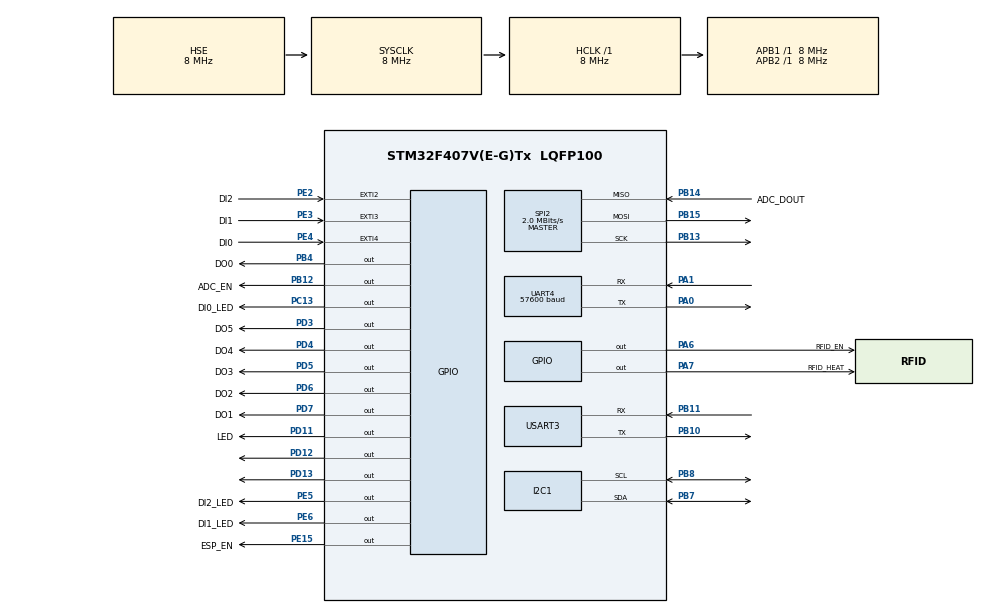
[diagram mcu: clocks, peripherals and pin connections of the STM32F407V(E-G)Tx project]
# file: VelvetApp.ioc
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Dma.Request0=UART4_RX
Dma.Request1=USART3_RX
Dma.Request2=SPI2_RX
Dma.Request3=SPI2_TX
Dma.SPI2_RX.2.Direction=DMA_PERIPH_TO_MEMORY
Dma.SPI2_RX.2.FIFOMode=DMA_FIFOMODE_DISABLE
Dma.SPI2_RX.2.Instance=DMA1_Stream3
Dma.SPI2_RX.2.MemDataAlignment=DMA_MDATAALIGN_BYTE
Dma.SPI2_RX.2.MemInc=DMA_MINC_ENABLE
Dma.SPI2_RX.2.Mode=DMA_NORMAL
Dma.SPI2_RX.2.PeriphDataAlignment=DMA_PDATAALIGN_BYTE
Dma.SPI2_RX.2.PeriphInc=DMA_PINC_DISABLE
Dma.SPI2_RX.2.Priority=DMA_PRIORITY_LOW
Dma.SPI2_TX.3.Direction=DMA_MEMORY_TO_PERIPH
Dma.SPI2_TX.3.FIFOMode=DMA_FIFOMODE_DISABLE
Dma.SPI2_TX.3.Instance=DMA1_Stream4
Dma.SPI2_TX.3.MemDataAlignment=DMA_MDATAALIGN_BYTE
Dma.SPI2_TX.3.MemInc=DMA_MINC_ENABLE
Dma.SPI2_TX.3.Mode=DMA_NORMAL
Dma.SPI2_TX.3.PeriphDataAlignment=DMA_PDATAALIGN_BYTE
Dma.SPI2_TX.3.PeriphInc=DMA_PINC_DISABLE
Dma.SPI2_TX.3.Priority=DMA_PRIORITY_LOW
Dma.UART4_RX.0.Direction=DMA_PERIPH_TO_MEMORY
Dma.UART4_RX.0.FIFOMode=DMA_FIFOMODE_DISABLE
Dma.UART4_RX.0.Instance=DMA1_Stream2
Dma.UART4_RX.0.MemDataAlignment=DMA_MDATAALIGN_BYTE
Dma.UART4_RX.0.MemInc=DMA_MINC_ENABLE
Dma.UART4_RX.0.Mode=DMA_NORMAL
Dma.UART4_RX.0.PeriphDataAlignment=DMA_PDATAALIGN_BYTE
Dma.UART4_RX.0.PeriphInc=DMA_PINC_DISABLE
Dma.UART4_RX.0.Priority=DMA_PRIORITY_MEDIUM
Dma.USART3_RX.1.Direction=DMA_PERIPH_TO_MEMORY
Dma.USART3_RX.1.FIFOMode=DMA_FIFOMODE_DISABLE
Dma.USART3_RX.1.Instance=DMA1_Stream1
Dma.USART3_RX.1.MemDataAlignment=DMA_MDATAALIGN_BYTE
Dma.USART3_RX.1.MemInc=DMA_MINC_ENABLE
Dma.USART3_RX.1.Mode=DMA_NORMAL
Dma.USART3_RX.1.PeriphDataAlignment=DMA_PDATAALIGN_BYTE
Dma.USART3_RX.1.PeriphInc=DMA_PINC_DISABLE
Dma.USART3_RX.1.Priority=DMA_PRIORITY_MEDIUM
FREERTOS.HEAP_NUMBER=4
FREERTOS.Tasks01=sendMsg,23,128,sendMsgToESPTask,As weak,&huart3,Dynamic,NULL,NULL;readWeight,24,128,readWeightTask,As external,&hspi2,Dynamic,NULL,NULL;readRfid,25,128,readRfidTask,As external,&huart4,Dynamic,NULL,NULL;testTask,22,128,testTaskRun,Default,NULL,Dynamic,NULL,NULL
FREERTOS.configMAX_TASK_NAME_LEN=16
IWDG.Prescaler=IWDG_PRESCALER_256
Mcu.Family=STM32F4
Mcu.Name=STM32F407V(E-G)Tx
Mcu.Package=LQFP100
NVIC.DMA1_Stream1_IRQn=true\:5\:0\:false\:false\:true\:true\:false\:true\:true
NVIC.DMA1_Stream2_IRQn=true\:5\:0\:false\:false\:true\:true\:false\:true\:true
NVIC.DMA1_Stream3_IRQn=true\:5\:0\:false\:false\:true\:true\:false\:true\:true
NVIC.DMA1_Stream4_IRQn=true\:5\:0\:false\:false\:true\:true\:false\:true\:true
NVIC.EXTI2_IRQn=true\:7\:0\:true\:false\:true\:true\:true\:true\:true
NVIC.EXTI3_IRQn=true\:7\:0\:true\:false\:true\:true\:true\:true\:true
NVIC.EXTI4_IRQn=true\:7\:0\:true\:false\:true\:true\:true\:true\:true
NVIC.I2C1_EV_IRQn=true\:5\:0\:false\:false\:true\:true\:true\:true\:true
NVIC.PriorityGroup=NVIC_PRIORITYGROUP_4
NVIC.TIM1_UP_TIM10_IRQn=true\:15\:0\:false\:false\:true\:false\:false\:true\:true
NVIC.TIM6_DAC_IRQn=true\:6\:0\:true\:false\:true\:true\:true\:true\:true
NVIC.TimeBase=TIM1_UP_TIM10_IRQn
NVIC.TimeBaseIP=TIM1
PA0-WKUP.GPIO_PuPd=GPIO_NOPULL
PA0-WKUP.Mode=Asynchronous
PA0-WKUP.Signal=UART4_TX
PA1.GPIO_PuPd=GPIO_NOPULL
PA1.Mode=Asynchronous
PA1.Signal=UART4_RX
PA13.Mode=Serial_Wire
PA13.Signal=SYS_JTMS-SWDIO
PA14.Mode=Serial_Wire
PA14.Signal=SYS_JTCK-SWCLK
PA6.GPIO_Label=RFID_EN
PA6.GPIO_PuPd=GPIO_PULLDOWN
PA6.Signal=GPIO_Output
PA7.GPIO_Label=RFID_HEAT
PA7.GPIO_PuPd=GPIO_PULLDOWN
PA7.Signal=GPIO_Output
PB10.Mode=Asynchronous
PB10.Signal=USART3_TX
PB11.Mode=Asynchronous
PB11.Signal=USART3_RX
PB12.GPIO_Label=ADC_EN
PB12.GPIO_PuPd=GPIO_PULLUP
PB12.PinState=GPIO_PIN_SET
PB12.Signal=GPIO_Output
PB13.GPIO_PuPd=GPIO_PULLUP
PB13.GPIO_Speed=GPIO_SPEED_FREQ_HIGH
PB13.Mode=Full_Duplex_Master
PB13.Signal=SPI2_SCK
PB14.GPIO_Label=ADC_DOUT
PB14.GPIO_PuPd=GPIO_PULLUP
PB14.GPIO_Speed=GPIO_SPEED_FREQ_HIGH
PB14.Mode=Full_Duplex_Master
PB14.Signal=SPI2_MISO
PB15.GPIO_PuPd=GPIO_PULLUP
PB15.GPIO_Speed=GPIO_SPEED_FREQ_HIGH
PB15.Mode=Full_Duplex_Master
PB15.Signal=SPI2_MOSI
PB4.GPIO_Label=DO0
PB4.GPIO_PuPd=GPIO_PULLDOWN
PB4.Signal=GPIO_Output
PB7.Mode=I2C
PB7.Signal=I2C1_SDA
PB8.Mode=I2C
PB8.Signal=I2C1_SCL
PC13-ANTI_TAMP.GPIO_Label=DI0_LED
PC13-ANTI_TAMP.GPIO_PuPd=GPIO_PULLDOWN
PC13-ANTI_TAMP.Signal=GPIO_Output
PD11.GPIO_Label=LED
PD11.Signal=GPIO_Output
PD12.Signal=GPIO_Output
PD13.Signal=GPIO_Output
PD3.GPIO_Label=DO5
PD3.GPIO_PuPd=GPIO_PULLDOWN
PD3.Signal=GPIO_Output
PD4.GPIO_Label=DO4
PD4.GPIO_PuPd=GPIO_PULLDOWN
PD4.PinState=GPIO_PIN_RESET
PD4.Signal=GPIO_Output
PD5.GPIO_Label=DO3
PD5.GPIO_PuPd=GPIO_PULLDOWN
PD5.Signal=GPIO_Output
PD6.GPIO_Label=DO2
PD6.GPIO_PuPd=GPIO_PULLDOWN
PD6.PinState=GPIO_PIN_RESET
PD6.Signal=GPIO_Output
PD7.GPIO_Label=DO1
PD7.GPIO_PuPd=GPIO_PULLDOWN
PD7.Signal=GPIO_Output
PE15.GPIO_Label=ESP_EN
PE15.Signal=GPIO_Output
PE2.GPIO_Label=DI2
PE2.GPIO_ModeDefaultEXTI=GPIO_MODE_IT_RISING_FALLING
PE2.Signal=GPXTI2
PE3.GPIO_Label=DI1
PE3.GPIO_ModeDefaultEXTI=GPIO_MODE_IT_RISING_FALLING
PE3.Signal=GPXTI3
PE4.GPIO_Label=DI0
PE4.GPIO_ModeDefaultEXTI=GPIO_MODE_IT_RISING_FALLING
PE4.Signal=GPXTI4
PE5.GPIO_Label=DI2_LED
PE5.GPIO_PuPd=GPIO_PULLDOWN
PE5.Signal=GPIO_Output
PE6.GPIO_Label=DI1_LED
PE6.GPIO_PuPd=GPIO_PULLDOWN
PE6.Signal=GPIO_Output
PH0-OSC_IN.Mode=HSE-External-Oscillator
PH0-OSC_IN.Signal=RCC_OSC_IN
PH1-OSC_OUT.Mode=HSE-External-Oscillator
PH1-OSC_OUT.Signal=RCC_OSC_OUT
ProjectManager.HeapSize=0x200
ProjectManager.StackSize=0x400
ProjectManager.TargetToolchain=MDK-ARM V5.32
RCC.48MHZClocksFreq_Value=24000000
RCC.AHBFreq_Value=8000000
RCC.APB1Freq_Value=8000000
RCC.APB1TimFreq_Value=8000000
RCC.APB2Freq_Value=8000000
RCC.APB2TimFreq_Value=8000000
RCC.CortexFreq_Value=8000000
RCC.HCLKFreq_Value=8000000
RCC.HSE_VALUE=8000000
RCC.HSI_VALUE=16000000
RCC.LSE_VALUE=32768
RCC.PLLSourceVirtual=RCC_PLLSOURCE_HSE
RCC.SYSCLKFreq_VALUE=8000000
RCC.SYSCLKSource=RCC_SYSCLKSOURCE_HSE
RCC.VCOOutputFreq_Value=96000000
SPI2.BaudRatePrescaler=SPI_BAUDRATEPRESCALER_4
SPI2.CLKPhase=SPI_PHASE_2EDGE
SPI2.CLKPolarity=SPI_POLARITY_HIGH
SPI2.CalculateBaudRate=2.0 MBits/s
SPI2.Direction=SPI_DIRECTION_2LINES
SPI2.Mode=SPI_MODE_MASTER
SPI2.VirtualType=VM_MASTER
TIM6.Period=999
TIM6.Prescaler=7999
TIM6.TIM_MasterOutputTrigger=TIM_TRGO_UPDATE
UART4.BaudRate=57600
UART4.VirtualMode=Asynchronous
USART3.VirtualMode=VM_ASYNC
VP_FREERTOS_VS_CMSIS_V2.Mode=CMSIS_V2
VP_IWDG_VS_IWDG.Mode=IWDG_Activate
VP_SYS_VS_tim1.Mode=TIM1
VP_TIM6_VS_ClockSourceINT.Mode=Enable_Timer
board=custom

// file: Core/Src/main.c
/* USER CODE BEGIN Header */
/**
  ******************************************************************************
  * @file           : main.c
  * @brief          : Main program body
  ******************************************************************************
  * @attention
  *
  * Copyright (c) 2023 STMicroelectronics.
  * All rights reserved.
  *
  * This software is licensed under terms that can be found in the LICENSE file
  * in the root directory of this software component.
  * If no LICENSE file comes with this software, it is provided AS-IS.
  *
  ******************************************************************************
  */
/* USER CODE END Header */
#include "main.h"
#include "cmsis_os.h"

/* USER CODE BEGIN Includes */
#include "appInit.h"
#include "app.h"
#include "esp.h"
#include "rfid.h"
#include "adc.h"
#include "temperatureSensor.h"
/* USER CODE END Includes */

I2C_HandleTypeDef hi2c1;

IWDG_HandleTypeDef hiwdg;

SPI_HandleTypeDef hspi2;
DMA_HandleTypeDef hdma_spi2_rx;
DMA_HandleTypeDef hdma_spi2_tx;

TIM_HandleTypeDef htim6;

UART_HandleTypeDef huart4;
UART_HandleTypeDef huart3;
DMA_HandleTypeDef hdma_uart4_rx;
DMA_HandleTypeDef hdma_usart3_rx;

/* Definitions for sendMsg */
osThreadId_t sendMsgHandle;
const osThreadAttr_t sendMsg_attributes = {
  .name = "sendMsg",
  .stack_size = 128 * 4,
  .priority = (osPriority_t) osPriorityBelowNormal7,
};
/* Definitions for readWeight */
osThreadId_t readWeightHandle;
const osThreadAttr_t readWeight_attributes = {
  .name = "readWeight",
  .stack_size = 128 * 4,
  .priority = (osPriority_t) osPriorityNormal,
};
/* Definitions for readRfid */
osThreadId_t readRfidHandle;
const osThreadAttr_t readRfid_attributes = {
  .name = "readRfid",
  .stack_size = 128 * 4,
  .priority = (osPriority_t) osPriorityNormal1,
};
/* Definitions for testTask */
osThreadId_t testTaskHandle;
const osThreadAttr_t testTask_attributes = {
  .name = "testTask",
  .stack_size = 128 * 4,
  .priority = (osPriority_t) osPriorityBelowNormal6,
};

void SystemClock_Config(void);
static void MX_GPIO_Init(void);
static void MX_DMA_Init(void);
static void MX_IWDG_Init(void);
static void MX_UART4_Init(void);
static void MX_TIM6_Init(void);
static void MX_USART3_UART_Init(void);
static void MX_I2C1_Init(void);
static void MX_SPI2_Init(void);
void sendMsgToESPTask(void *argument);
extern void readWeightTask(void *argument);
extern void readRfidTask(void *argument);
void testTaskRun(void *argument);

int main(void)
{
  /* USER CODE BEGIN 1 */
	//SCB->VTOR = 0x08020000;
  //SCB->VTOR = 0x0800E000;
//  __HAL_RCC_GPIOA_CLK_DISABLE();
//  __HAL_RCC_GPIOB_CLK_DISABLE();
//  __HAL_RCC_GPIOC_CLK_DISABLE();
//  __HAL_RCC_GPIOD_CLK_DISABLE();
//  HAL_RCC_DeInit();
//  HAL_DeInit();
//  __enable_irq();
  /* USER CODE END 1 */

  /* MCU Configuration--------------------------------------------------------*/

  /* Reset of all peripherals, Initializes the Flash interface and the Systick. */
  HAL_Init();

  /* Configure the system clock */
  SystemClock_Config();

  /* Initialize all configured peripherals */
  MX_GPIO_Init();
  MX_DMA_Init();
  MX_IWDG_Init();
  MX_UART4_Init();
  MX_TIM6_Init();
  MX_USART3_UART_Init();
  MX_I2C1_Init();
  MX_SPI2_Init();
  /* USER CODE BEGIN 2 */
	__HAL_DBGMCU_FREEZE_IWDG();
	initApp(&huart3,&huart4);
  /* USER CODE END 2 */

  /* Init scheduler */
  osKernelInitialize();

  /* USER CODE BEGIN RTOS_QUEUES */
  /* add queues, ... */
	const osMessageQueueAttr_t espSendQueue_attributes = {
  .name = "espSendQueue"
	};
	const osMessageQueueAttr_t espReceiveQueue_attributes = {
  .name = "espReceiveQueue"
	};
	const osMessageQueueAttr_t rfidReceiveQueue_attributes = {
  .name = "rfidReceiveQueue"
	};
	const osMessageQueueAttr_t adcQueue_attributes = {
  .name = "adcQueue"
	};
	const osMessageQueueAttr_t spiQueue_attributes = {
  .name = "spiQueue"
	};
	/* Create the queue(s) */
  /* creation of espSendQueue */
  espSendQueueHandle = osMessageQueueNew (5, sizeof(uint8_t), &espSendQueue_attributes);
  /* creation of espReceiveQueue */
  espReceiveQueueHandle = osMessageQueueNew (2, sizeof(uint8_t), &espReceiveQueue_attributes);
  /* creation of rfidReceiveQueue */
  rfidReceiveQueueHandle = osMessageQueueNew (2, sizeof(uint8_t), &rfidReceiveQueue_attributes);
  /* creation of adcQueue */
  adcQueueHandle = osMessageQueueNew (3, sizeof(uint8_t), &adcQueue_attributes);
	/* creation of spiQueue */
  spiQueueHandle = osMessageQueueNew (3, sizeof(uint8_t), &spiQueue_attributes);
  /* USER CODE END RTOS_QUEUES */

  /* Create the thread(s) */
  /* creation of sendMsg */
  sendMsgHandle = osThreadNew(sendMsgToESPTask, (void*) &huart3, &sendMsg_attributes);

  /* creation of readWeight */
  readWeightHandle = osThreadNew(readWeightTask, (void*) &hspi2, &readWeight_attributes);

  /* creation of readRfid */
  readRfidHandle = osThreadNew(readRfidTask, (void*) &huart4, &readRfid_attributes);

  /* creation of testTask */
  testTaskHandle = osThreadNew(testTaskRun, NULL, &testTask_attributes);

  /* Start scheduler */
  osKernelStart();
  /* We should never get here as control is now taken by the scheduler */
  /* Infinite loop */
  while (1)
  {

  }
}

void SystemClock_Config(void)
{
  RCC_OscInitTypeDef RCC_OscInitStruct = {0};
  RCC_ClkInitTypeDef RCC_ClkInitStruct = {0};

  /** Configure the main internal regulator output voltage
  */
  __HAL_RCC_PWR_CLK_ENABLE();
  __HAL_PWR_VOLTAGESCALING_CONFIG(PWR_REGULATOR_VOLTAGE_SCALE1);

  /** Initializes the RCC Oscillators according to the specified parameters
  * in the RCC_OscInitTypeDef structure.
  */
  RCC_OscInitStruct.OscillatorType = RCC_OSCILLATORTYPE_LSI|RCC_OSCILLATORTYPE_HSE;
  RCC_OscInitStruct.HSEState = RCC_HSE_ON;
  RCC_OscInitStruct.LSIState = RCC_LSI_ON;
  RCC_OscInitStruct.PLL.PLLState = RCC_PLL_NONE;
  if (HAL_RCC_OscConfig(&RCC_OscInitStruct) != HAL_OK)
  {
    Error_Handler();
  }

  /** Initializes the CPU, AHB and APB buses clocks
  */
  RCC_ClkInitStruct.ClockType = RCC_CLOCKTYPE_HCLK|RCC_CLOCKTYPE_SYSCLK
                              |RCC_CLOCKTYPE_PCLK1|RCC_CLOCKTYPE_PCLK2;
  RCC_ClkInitStruct.SYSCLKSource = RCC_SYSCLKSOURCE_HSE;
  RCC_ClkInitStruct.AHBCLKDivider = RCC_SYSCLK_DIV1;
  RCC_ClkInitStruct.APB1CLKDivider = RCC_HCLK_DIV1;
  RCC_ClkInitStruct.APB2CLKDivider = RCC_HCLK_DIV1;

  if (HAL_RCC_ClockConfig(&RCC_ClkInitStruct, FLASH_LATENCY_0) != HAL_OK)
  {
    Error_Handler();
  }
}

static void MX_I2C1_Init(void)
{

  hi2c1.Instance = I2C1;
  hi2c1.Init.ClockSpeed = 100000;
  hi2c1.Init.DutyCycle = I2C_DUTYCYCLE_2;
  hi2c1.Init.OwnAddress1 = 0;
  hi2c1.Init.AddressingMode = I2C_ADDRESSINGMODE_7BIT;
  hi2c1.Init.DualAddressMode = I2C_DUALADDRESS_DISABLE;
  hi2c1.Init.OwnAddress2 = 0;
  hi2c1.Init.GeneralCallMode = I2C_GENERALCALL_DISABLE;
  hi2c1.Init.NoStretchMode = I2C_NOSTRETCH_DISABLE;
  if (HAL_I2C_Init(&hi2c1) != HAL_OK)
  {
    Error_Handler();
  }

}

static void MX_IWDG_Init(void)
{

  hiwdg.Instance = IWDG;
  hiwdg.Init.Prescaler = IWDG_PRESCALER_256;
  hiwdg.Init.Reload = 4095;
  if (HAL_IWDG_Init(&hiwdg) != HAL_OK)
  {
    Error_Handler();
  }

}

static void MX_SPI2_Init(void)
{

  /* SPI2 parameter configuration*/
  hspi2.Instance = SPI2;
  hspi2.Init.Mode = SPI_MODE_MASTER;
  hspi2.Init.Direction = SPI_DIRECTION_2LINES;
  hspi2.Init.DataSize = SPI_DATASIZE_8BIT;
  hspi2.Init.CLKPolarity = SPI_POLARITY_HIGH;
  hspi2.Init.CLKPhase = SPI_PHASE_2EDGE;
  hspi2.Init.NSS = SPI_NSS_SOFT;
  hspi2.Init.BaudRatePrescaler = SPI_BAUDRATEPRESCALER_4;
  hspi2.Init.FirstBit = SPI_FIRSTBIT_MSB;
  hspi2.Init.TIMode = SPI_TIMODE_DISABLE;
  hspi2.Init.CRCCalculation = SPI_CRCCALCULATION_DISABLE;
  hspi2.Init.CRCPolynomial = 10;
  if (HAL_SPI_Init(&hspi2) != HAL_OK)
  {
    Error_Handler();
  }

}

static void MX_TIM6_Init(void)
{

  TIM_MasterConfigTypeDef sMasterConfig = {0};

  htim6.Instance = TIM6;
  htim6.Init.Prescaler = 7999;
  htim6.Init.CounterMode = TIM_COUNTERMODE_UP;
  htim6.Init.Period = 999;
  htim6.Init.AutoReloadPreload = TIM_AUTORELOAD_PRELOAD_DISABLE;
  if (HAL_TIM_Base_Init(&htim6) != HAL_OK)
  {
    Error_Handler();
  }
  sMasterConfig.MasterOutputTrigger = TIM_TRGO_UPDATE;
  sMasterConfig.MasterSlaveMode = TIM_MASTERSLAVEMODE_DISABLE;
  if (HAL_TIMEx_MasterConfigSynchronization(&htim6, &sMasterConfig) != HAL_OK)
  {
    Error_Handler();
  }

}

static void MX_UART4_Init(void)
{

  huart4.Instance = UART4;
  huart4.Init.BaudRate = 57600;
  huart4.Init.WordLength = UART_WORDLENGTH_8B;
  huart4.Init.StopBits = UART_STOPBITS_1;
  huart4.Init.Parity = UART_PARITY_NONE;
  huart4.Init.Mode = UART_MODE_TX_RX;
  huart4.Init.HwFlowCtl = UART_HWCONTROL_NONE;
  huart4.Init.OverSampling = UART_OVERSAMPLING_16;
  if (HAL_UART_Init(&huart4) != HAL_OK)
  {
    Error_Handler();
  }

}

static void MX_USART3_UART_Init(void)
{

  huart3.Instance = USART3;
  huart3.Init.BaudRate = 115200;
  huart3.Init.WordLength = UART_WORDLENGTH_8B;
  huart3.Init.StopBits = UART_STOPBITS_1;
  huart3.Init.Parity = UART_PARITY_NONE;
  huart3.Init.Mode = UART_MODE_TX_RX;
  huart3.Init.HwFlowCtl = UART_HWCONTROL_NONE;
  huart3.Init.OverSampling = UART_OVERSAMPLING_16;
  if (HAL_UART_Init(&huart3) != HAL_OK)
  {
    Error_Handler();
  }

}

static void MX_DMA_Init(void)
{

  /* DMA controller clock enable */
  __HAL_RCC_DMA1_CLK_ENABLE();

  /* DMA interrupt init */
  /* DMA1_Stream1_IRQn interrupt configuration */
  HAL_NVIC_SetPriority(DMA1_Stream1_IRQn, 5, 0);
  HAL_NVIC_EnableIRQ(DMA1_Stream1_IRQn);
  /* DMA1_Stream2_IRQn interrupt configuration */
  HAL_NVIC_SetPriority(DMA1_Stream2_IRQn, 5, 0);
  HAL_NVIC_EnableIRQ(DMA1_Stream2_IRQn);
  /* DMA1_Stream3_IRQn interrupt configuration */
  HAL_NVIC_SetPriority(DMA1_Stream3_IRQn, 5, 0);
  HAL_NVIC_EnableIRQ(DMA1_Stream3_IRQn);
  /* DMA1_Stream4_IRQn interrupt configuration */
  HAL_NVIC_SetPriority(DMA1_Stream4_IRQn, 5, 0);
  HAL_NVIC_EnableIRQ(DMA1_Stream4_IRQn);

}

static void MX_GPIO_Init(void)
{
  GPIO_InitTypeDef GPIO_InitStruct = {0};

  /* GPIO Ports Clock Enable */
  __HAL_RCC_GPIOE_CLK_ENABLE();
  __HAL_RCC_GPIOC_CLK_ENABLE();
  __HAL_RCC_GPIOH_CLK_ENABLE();
  __HAL_RCC_GPIOA_CLK_ENABLE();
  __HAL_RCC_GPIOB_CLK_ENABLE();
  __HAL_RCC_GPIOD_CLK_ENABLE();

  /*Configure GPIO pin Output Level */
  HAL_GPIO_WritePin(GPIOE, DI2_LED_Pin|DI1_LED_Pin|ESP_EN_Pin, GPIO_PIN_RESET);

  /*Configure GPIO pin Output Level */
  HAL_GPIO_WritePin(DI0_LED_GPIO_Port, DI0_LED_Pin, GPIO_PIN_RESET);

  /*Configure GPIO pin Output Level */
  HAL_GPIO_WritePin(GPIOA, RFID_EN_Pin|RFID_HEAT_Pin, GPIO_PIN_RESET);

  /*Configure GPIO pin Output Level */
  HAL_GPIO_WritePin(ADC_EN_GPIO_Port, ADC_EN_Pin, GPIO_PIN_SET);

  /*Configure GPIO pin Output Level */
  HAL_GPIO_WritePin(GPIOD, LED_Pin|GPIO_PIN_12|GPIO_PIN_13|DO5_Pin
                          |DO4_Pin|DO3_Pin|DO2_Pin|DO1_Pin, GPIO_PIN_RESET);

  /*Configure GPIO pin Output Level */
  HAL_GPIO_WritePin(DO0_GPIO_Port, DO0_Pin, GPIO_PIN_RESET);

  /*Configure GPIO pins : DI2_Pin DI1_Pin DI0_Pin */
  GPIO_InitStruct.Pin = DI2_Pin|DI1_Pin|DI0_Pin;
  GPIO_InitStruct.Mode = GPIO_MODE_IT_RISING_FALLING;
  GPIO_InitStruct.Pull = GPIO_NOPULL;
  HAL_GPIO_Init(GPIOE, &GPIO_InitStruct);

  /*Configure GPIO pins : DI2_LED_Pin DI1_LED_Pin */
  GPIO_InitStruct.Pin = DI2_LED_Pin|DI1_LED_Pin;
  GPIO_InitStruct.Mode = GPIO_MODE_OUTPUT_PP;
  GPIO_InitStruct.Pull = GPIO_PULLDOWN;
  GPIO_InitStruct.Speed = GPIO_SPEED_FREQ_LOW;
  HAL_GPIO_Init(GPIOE, &GPIO_InitStruct);

  /*Configure GPIO pin : DI0_LED_Pin */
  GPIO_InitStruct.Pin = DI0_LED_Pin;
  GPIO_InitStruct.Mode = GPIO_MODE_OUTPUT_PP;
  GPIO_InitStruct.Pull = GPIO_PULLDOWN;
  GPIO_InitStruct.Speed = GPIO_SPEED_FREQ_LOW;
  HAL_GPIO_Init(DI0_LED_GPIO_Port, &GPIO_InitStruct);

  /*Configure GPIO pins : RFID_EN_Pin RFID_HEAT_Pin */
  GPIO_InitStruct.Pin = RFID_EN_Pin|RFID_HEAT_Pin;
  GPIO_InitStruct.Mode = GPIO_MODE_OUTPUT_PP;
  GPIO_InitStruct.Pull = GPIO_PULLDOWN;
  GPIO_InitStruct.Speed = GPIO_SPEED_FREQ_LOW;
  HAL_GPIO_Init(GPIOA, &GPIO_InitStruct);

  /*Configure GPIO pin : ESP_EN_Pin */
  GPIO_InitStruct.Pin = ESP_EN_Pin;
  GPIO_InitStruct.Mode = GPIO_MODE_OUTPUT_PP;
  GPIO_InitStruct.Pull = GPIO_NOPULL;
  GPIO_InitStruct.Speed = GPIO_SPEED_FREQ_LOW;
  HAL_GPIO_Init(ESP_EN_GPIO_Port, &GPIO_InitStruct);

  /*Configure GPIO pin : ADC_EN_Pin */
  GPIO_InitStruct.Pin = ADC_EN_Pin;
  GPIO_InitStruct.Mode = GPIO_MODE_OUTPUT_PP;
  GPIO_InitStruct.Pull = GPIO_PULLUP;
  GPIO_InitStruct.Speed = GPIO_SPEED_FREQ_LOW;
  HAL_GPIO_Init(ADC_EN_GPIO_Port, &GPIO_InitStruct);

  /*Configure GPIO pins : LED_Pin PD12 PD13 */
  GPIO_InitStruct.Pin = LED_Pin|GPIO_PIN_12|GPIO_PIN_13;
  GPIO_InitStruct.Mode = GPIO_MODE_OUTPUT_PP;
  GPIO_InitStruct.Pull = GPIO_NOPULL;
  GPIO_InitStruct.Speed = GPIO_SPEED_FREQ_LOW;
  HAL_GPIO_Init(GPIOD, &GPIO_InitStruct);

  /*Configure GPIO pins : DO5_Pin DO4_Pin DO3_Pin DO2_Pin
                           DO1_Pin */
  GPIO_InitStruct.Pin = DO5_Pin|DO4_Pin|DO3_Pin|DO2_Pin
                          |DO1_Pin;
  GPIO_InitStruct.Mode = GPIO_MODE_OUTPUT_PP;
  GPIO_InitStruct.Pull = GPIO_PULLDOWN;
  GPIO_InitStruct.Speed = GPIO_SPEED_FREQ_LOW;
  HAL_GPIO_Init(GPIOD, &GPIO_InitStruct);

  /*Configure GPIO pin : DO0_Pin */
  GPIO_InitStruct.Pin = DO0_Pin;
  GPIO_InitStruct.Mode = GPIO_MODE_OUTPUT_PP;
  GPIO_InitStruct.Pull = GPIO_PULLDOWN;
  GPIO_InitStruct.Speed = GPIO_SPEED_FREQ_LOW;
  HAL_GPIO_Init(DO0_GPIO_Port, &GPIO_InitStruct);

  /* EXTI interrupt init*/
  HAL_NVIC_SetPriority(EXTI2_IRQn, 7, 0);
  HAL_NVIC_EnableIRQ(EXTI2_IRQn);

  HAL_NVIC_SetPriority(EXTI3_IRQn, 7, 0);
  HAL_NVIC_EnableIRQ(EXTI3_IRQn);

  HAL_NVIC_SetPriority(EXTI4_IRQn, 7, 0);
  HAL_NVIC_EnableIRQ(EXTI4_IRQn);

}

__weak void sendMsgToESPTask(void *argument)
{
  for(;;)
  {
    osDelay(1);
  }
}

void testTaskRun(void *argument)
{
  /* USER CODE BEGIN testTaskRun */
	float temperatureEXT = 0;
	float temperatureRFID = 0;
  /* Infinite loop */
  for(;;)
  {
		HAL_IWDG_Refresh(&hiwdg);
		HAL_GPIO_TogglePin(LED_GPIO_Port, LED_Pin);
		osDelay(400);
		temperatureEXT = getTemperature(EXTERNAL_TEMP_ADDR);
		readTemperatureRegister(&hi2c1, EXTERNAL_TEMP_ADDR);//RFID_TEMP_ADDR);
		temperatureRFID = getTemperature(RFID_TEMP_ADDR);
		readTemperatureRegister(&hi2c1, RFID_TEMP_ADDR);
//		HAL_GPIO_TogglePin(RFID_HEAT_GPIO_Port, RFID_HEAT_Pin);
//		HAL_GPIO_WritePin(DO0_GPIO_Port, DO0_Pin, GPIO_PIN_SET);
//		HAL_Delay(3000);
//		HAL_GPIO_WritePin(DO0_GPIO_Port, DO0_Pin, GPIO_PIN_RESET);
//		HAL_GPIO_WritePin(DO1_GPIO_Port, DO1_Pin, GPIO_PIN_SET);
//		HAL_Delay(3000);
//		HAL_GPIO_WritePin(DO1_GPIO_Port, DO1_Pin, GPIO_PIN_RESET);
//		HAL_GPIO_WritePin(DO2_GPIO_Port, DO2_Pin, GPIO_PIN_SET);
//		HAL_Delay(3000);
//		HAL_GPIO_WritePin(DO2_GPIO_Port, DO2_Pin, GPIO_PIN_RESET);
//		HAL_GPIO_WritePin(DO3_GPIO_Port, DO3_Pin, GPIO_PIN_SET);
//		HAL_Delay(3000);
//		HAL_GPIO_WritePin(DO3_GPIO_Port, DO3_Pin, GPIO_PIN_RESET);
//		HAL_GPIO_WritePin(DO4_GPIO_Port, DO4_Pin, GPIO_PIN_SET);
//		HAL_Delay(2000);
//		HAL_GPIO_WritePin(DO4_GPIO_Port, DO4_Pin, GPIO_PIN_RESET);
//		HAL_GPIO_WritePin(DO5_GPIO_Port, DO5_Pin, GPIO_PIN_SET);
//		HAL_Delay(2000);
//		HAL_GPIO_WritePin(DO5_GPIO_Port, DO5_Pin, GPIO_PIN_RESET);
    //osDelay(1);
  }
  /* USER CODE END testTaskRun */
}

void HAL_TIM_PeriodElapsedCallback(TIM_HandleTypeDef *htim)
{
  if (htim->Instance == TIM1) {
    HAL_IncTick();
  }
  /* USER CODE BEGIN Callback 1 */
	if (htim->Instance == TIM6) {
		checkTasksTimeout();
  }
  /* USER CODE END Callback 1 */
}

void Error_Handler(void)
{
  __disable_irq();
  while (1)
  {
  }
}
